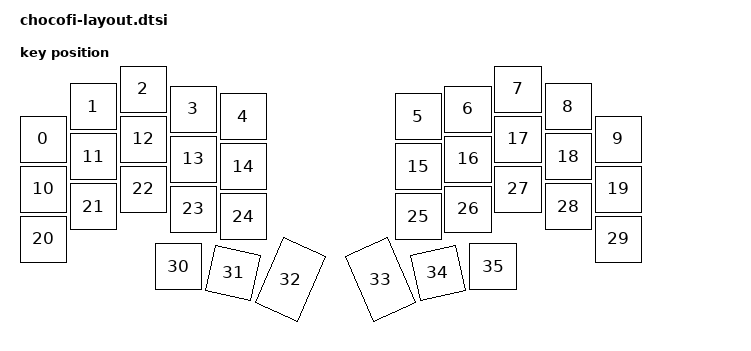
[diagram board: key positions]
#include <physical_layouts.dtsi>

/ {
    physical_layout_chocofi: physical_layout_chocofi {
        compatible = "zmk,physical-layout";
        display-name = "Chocofi";
        keys  //                     w   h    x    y     rot    rx    ry
            = <&key_physical_attrs 100 100    0  100       0     0   100>
            , <&key_physical_attrs 100 100  100   35       0   100    35>
            , <&key_physical_attrs 100 100  200    0       0   200     0>
            , <&key_physical_attrs 100 100  300   40       0   300    40>
            , <&key_physical_attrs 100 100  400   55       0   400    55>
            , <&key_physical_attrs 100 100  750   55       0   750    55>
            , <&key_physical_attrs 100 100  850   40       0   850    40>
            , <&key_physical_attrs 100 100  950    0       0   950     0>
            , <&key_physical_attrs 100 100 1050   35       0  1050    35>
            , <&key_physical_attrs 100 100 1150  100       0  1150   100>
            , <&key_physical_attrs 100 100    0  200       0     0   200>
            , <&key_physical_attrs 100 100  100  135       0   100   135>
            , <&key_physical_attrs 100 100  200  100       0   200   100>
            , <&key_physical_attrs 100 100  300  140       0   300   140>
            , <&key_physical_attrs 100 100  400  155       0   400   155>
            , <&key_physical_attrs 100 100  750  155       0   750   155>
            , <&key_physical_attrs 100 100  850  140       0   850   140>
            , <&key_physical_attrs 100 100  950  100       0   950   100>
            , <&key_physical_attrs 100 100 1050  135       0  1050   135>
            , <&key_physical_attrs 100 100 1150  200       0  1150   200>
            , <&key_physical_attrs 100 100    0  300       0     0   300>
            , <&key_physical_attrs 100 100  100  235       0   100   235>
            , <&key_physical_attrs 100 100  200  200       0   200   200>
            , <&key_physical_attrs 100 100  300  240       0   300   240>
            , <&key_physical_attrs 100 100  400  255       0   400   255>
            , <&key_physical_attrs 100 100  750  255       0   750   255>
            , <&key_physical_attrs 100 100  850  240       0   850   240>
            , <&key_physical_attrs 100 100  950  200       0   950   200>
            , <&key_physical_attrs 100 100 1050  235       0  1050   235>
            , <&key_physical_attrs 100 100 1150  300       0  1150   300>
            , <&key_physical_attrs 100 100  270  355       0   270   355>
            , <&key_physical_attrs 100 100  380  368    1200   430   420>
            , <&key_physical_attrs 100 150  495  356    2400   545   431>
            , <&key_physical_attrs 100 150  675  356 (-2400)   725   431>
            , <&key_physical_attrs 100 100  790  368 (-1200)   840   420>
            , <&key_physical_attrs 100 100  900  355       0   900   355>
            ;
    };
};
